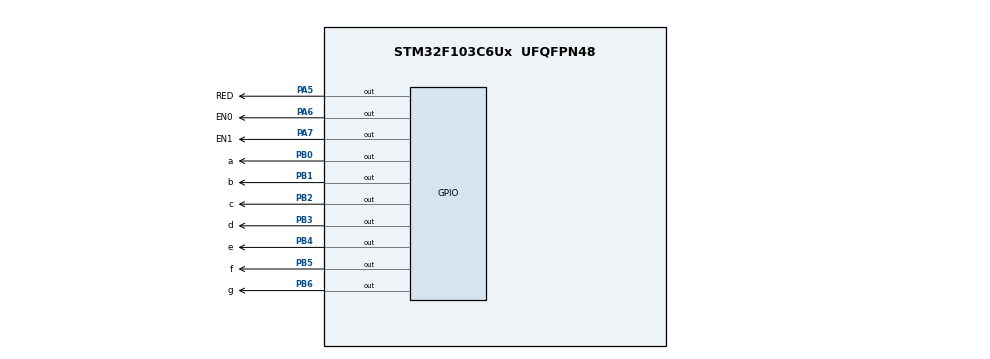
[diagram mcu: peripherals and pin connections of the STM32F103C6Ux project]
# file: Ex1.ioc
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Mcu.Family=STM32F1
Mcu.Name=STM32F103C6Ux
Mcu.Package=UFQFPN48
NVIC.PriorityGroup=NVIC_PRIORITYGROUP_4
NVIC.TIM2_IRQn=true\:0\:0\:false\:false\:true\:true\:true
PA5.GPIO_Label=RED
PA5.Signal=GPIO_Output
PA6.GPIO_Label=EN0
PA6.Signal=GPIO_Output
PA7.GPIO_Label=EN1
PA7.Signal=GPIO_Output
PB0.GPIO_Label=a
PB0.Signal=GPIO_Output
PB1.GPIO_Label=b
PB1.Signal=GPIO_Output
PB2.GPIO_Label=c
PB2.Signal=GPIO_Output
PB3.GPIO_Label=d
PB3.Signal=GPIO_Output
PB4.GPIO_Label=e
PB4.Signal=GPIO_Output
PB5.GPIO_Label=f
PB5.Signal=GPIO_Output
PB6.GPIO_Label=g
PB6.Signal=GPIO_Output
ProjectManager.HeapSize=0x200
ProjectManager.StackSize=0x400
ProjectManager.TargetToolchain=STM32CubeIDE
RCC.APB1Freq_Value=8000000
RCC.APB2Freq_Value=8000000
TIM2.Period=9
TIM2.Prescaler=7999
VP_SYS_VS_ND.Mode=No_Debug
VP_TIM2_VS_ClockSourceINT.Mode=Internal
board=custom

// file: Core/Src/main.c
/* USER CODE BEGIN Header */
/**
  ******************************************************************************
  * @file           : main.c
  * @brief          : Main program body
  ******************************************************************************
  * @attention
  *
  * <h2><center>&copy; Copyright (c) 2023 STMicroelectronics.
  * All rights reserved.</center></h2>
  *
  * This software component is licensed by ST under BSD 3-Clause license,
  * the "License"; You may not use this file except in compliance with the
  * License. You may obtain a copy of the License at:
  *                        opensource.org/licenses/BSD-3-Clause
  *
  ******************************************************************************
  */
/* USER CODE END Header */
#include "main.h"

TIM_HandleTypeDef htim2;

void SystemClock_Config(void);
static void MX_GPIO_Init(void);
static void MX_TIM2_Init(void);

/* USER CODE BEGIN 0 */
void display7SEG(int num){
	int a=0, b=0, c=0, d=0, e=0, f=0, g=0;
	switch(num){
	case 0:
		a = 0; b = 0; c = 0; d = 0; e = 0; f = 0; g = 1;
		break;
	case 1:
		a = 1; b = 0; c = 0; d = 1; e = 1; f = 1; g = 1;
		break;
	case 2:
		a = 0; b = 0; c = 1; d = 0; e = 0; f = 1; g = 0;
		break;
	case 3:
		a = 0; b = 0; c = 0; d = 0; e = 1; f = 1; g = 0;
		break;
	case 4:
		a = 1; b = 0; c = 0; d = 1; e = 1; f = 0; g = 0;
		break;
	case 5:
		a = 0; b = 1; c = 0; d = 0; e = 1; f = 0; g = 0;
		break;
	case 6:
		a = 0; b = 1; c = 0; d = 0; e = 0; f = 0; g = 0;
		break;
	case 7:
		a = 0; b = 0; c = 0; d = 1; e = 1; f = 1; g = 1;
		break;
	case 8:
		a = 0; b = 0; c = 0; d = 0; e = 0; f = 0; g = 0;
		break;
	case 9:
		a = 0; b = 0; c = 0; d = 0; e = 1; f = 0; g = 0;
		break;
	default:
		a = 1; b = 1; c = 1; d = 1; e = 1; f = 1; g = 0;
		break;
	}
	HAL_GPIO_WritePin(a_GPIO_Port, a_Pin, a);
	HAL_GPIO_WritePin(b_GPIO_Port, b_Pin, b);
	HAL_GPIO_WritePin(c_GPIO_Port, c_Pin, c);
	HAL_GPIO_WritePin(d_GPIO_Port, d_Pin, d);
	HAL_GPIO_WritePin(e_GPIO_Port, e_Pin, e);
	HAL_GPIO_WritePin(f_GPIO_Port, f_Pin, f);
	HAL_GPIO_WritePin(g_GPIO_Port, g_Pin, g);
}
/* USER CODE END 0 */

int main(void)
{

  /* MCU Configuration--------------------------------------------------------*/

  /* Reset of all peripherals, Initializes the Flash interface and the Systick. */
  HAL_Init();

  /* Configure the system clock */
  SystemClock_Config();

  /* Initialize all configured peripherals */
  MX_GPIO_Init();
  MX_TIM2_Init();
  /* USER CODE BEGIN 2 */
  HAL_TIM_Base_Start_IT(&htim2);
  /* USER CODE END 2 */

  /* Infinite loop */
  /* USER CODE BEGIN WHILE */

  while (1)
  {
	 HAL_GPIO_TogglePin(EN0_GPIO_Port, EN0_Pin);
	 HAL_GPIO_TogglePin(EN1_GPIO_Port, EN1_Pin);
	 HAL_Delay(500);
    /* USER CODE END WHILE */

  }
}

void SystemClock_Config(void)
{
  RCC_OscInitTypeDef RCC_OscInitStruct = {0};
  RCC_ClkInitTypeDef RCC_ClkInitStruct = {0};

  /** Initializes the RCC Oscillators according to the specified parameters
  * in the RCC_OscInitTypeDef structure.
  */
  RCC_OscInitStruct.OscillatorType = RCC_OSCILLATORTYPE_HSI;
  RCC_OscInitStruct.HSIState = RCC_HSI_ON;
  RCC_OscInitStruct.HSICalibrationValue = RCC_HSICALIBRATION_DEFAULT;
  RCC_OscInitStruct.PLL.PLLState = RCC_PLL_NONE;
  if (HAL_RCC_OscConfig(&RCC_OscInitStruct) != HAL_OK)
  {
    Error_Handler();
  }
  /** Initializes the CPU, AHB and APB buses clocks
  */
  RCC_ClkInitStruct.ClockType = RCC_CLOCKTYPE_HCLK|RCC_CLOCKTYPE_SYSCLK
                              |RCC_CLOCKTYPE_PCLK1|RCC_CLOCKTYPE_PCLK2;
  RCC_ClkInitStruct.SYSCLKSource = RCC_SYSCLKSOURCE_HSI;
  RCC_ClkInitStruct.AHBCLKDivider = RCC_SYSCLK_DIV1;
  RCC_ClkInitStruct.APB1CLKDivider = RCC_HCLK_DIV1;
  RCC_ClkInitStruct.APB2CLKDivider = RCC_HCLK_DIV1;

  if (HAL_RCC_ClockConfig(&RCC_ClkInitStruct, FLASH_LATENCY_0) != HAL_OK)
  {
    Error_Handler();
  }
}

static void MX_TIM2_Init(void)
{

  TIM_ClockConfigTypeDef sClockSourceConfig = {0};
  TIM_MasterConfigTypeDef sMasterConfig = {0};

  htim2.Instance = TIM2;
  htim2.Init.Prescaler = 7999;
  htim2.Init.CounterMode = TIM_COUNTERMODE_UP;
  htim2.Init.Period = 9;
  htim2.Init.ClockDivision = TIM_CLOCKDIVISION_DIV1;
  htim2.Init.AutoReloadPreload = TIM_AUTORELOAD_PRELOAD_DISABLE;
  if (HAL_TIM_Base_Init(&htim2) != HAL_OK)
  {
    Error_Handler();
  }
  sClockSourceConfig.ClockSource = TIM_CLOCKSOURCE_INTERNAL;
  if (HAL_TIM_ConfigClockSource(&htim2, &sClockSourceConfig) != HAL_OK)
  {
    Error_Handler();
  }
  sMasterConfig.MasterOutputTrigger = TIM_TRGO_RESET;
  sMasterConfig.MasterSlaveMode = TIM_MASTERSLAVEMODE_DISABLE;
  if (HAL_TIMEx_MasterConfigSynchronization(&htim2, &sMasterConfig) != HAL_OK)
  {
    Error_Handler();
  }

}

static void MX_GPIO_Init(void)
{
  GPIO_InitTypeDef GPIO_InitStruct = {0};

  /* GPIO Ports Clock Enable */
  __HAL_RCC_GPIOA_CLK_ENABLE();
  __HAL_RCC_GPIOB_CLK_ENABLE();

  /*Configure GPIO pin Output Level */
  HAL_GPIO_WritePin(GPIOA, RED_Pin|EN0_Pin|EN1_Pin, GPIO_PIN_RESET);

  /*Configure GPIO pin Output Level */
  HAL_GPIO_WritePin(GPIOB, a_Pin|b_Pin|c_Pin|d_Pin
                          |e_Pin|f_Pin|g_Pin, GPIO_PIN_RESET);

  /*Configure GPIO pins : RED_Pin EN0_Pin EN1_Pin */
  GPIO_InitStruct.Pin = RED_Pin|EN0_Pin|EN1_Pin;
  GPIO_InitStruct.Mode = GPIO_MODE_OUTPUT_PP;
  GPIO_InitStruct.Pull = GPIO_NOPULL;
  GPIO_InitStruct.Speed = GPIO_SPEED_FREQ_LOW;
  HAL_GPIO_Init(GPIOA, &GPIO_InitStruct);

  /*Configure GPIO pins : a_Pin b_Pin c_Pin d_Pin
                           e_Pin f_Pin g_Pin */
  GPIO_InitStruct.Pin = a_Pin|b_Pin|c_Pin|d_Pin
                          |e_Pin|f_Pin|g_Pin;
  GPIO_InitStruct.Mode = GPIO_MODE_OUTPUT_PP;
  GPIO_InitStruct.Pull = GPIO_NOPULL;
  GPIO_InitStruct.Speed = GPIO_SPEED_FREQ_LOW;
  HAL_GPIO_Init(GPIOB, &GPIO_InitStruct);

}

/* USER CODE BEGIN 4 */
int counter =100;
int counter2 = 100;
void HAL_TIM_PeriodElapsedCallback ( TIM_HandleTypeDef * htim ){
	if(counter2>50){
		HAL_GPIO_WritePin(EN0_GPIO_Port, EN0_Pin, 0);
		HAL_GPIO_WritePin(EN1_GPIO_Port, EN1_Pin, 1);
		display7SEG(1);
	}
	else {
		HAL_GPIO_WritePin(EN0_GPIO_Port, EN0_Pin, 1);
		HAL_GPIO_WritePin(EN1_GPIO_Port, EN1_Pin, 0);
		display7SEG(2);
	}
	counter2--;
	if(counter2<=0) counter2=100;
	counter--;
	if(counter<=0){
		counter=100;
		HAL_GPIO_TogglePin(RED_GPIO_Port, RED_Pin);
	}
}
/* USER CODE END 4 */

void Error_Handler(void)
{
  __disable_irq();
  while (1)
  {
  }
}

/************************ (C) COPYRIGHT STMicroelectronics *****END OF FILE****/
